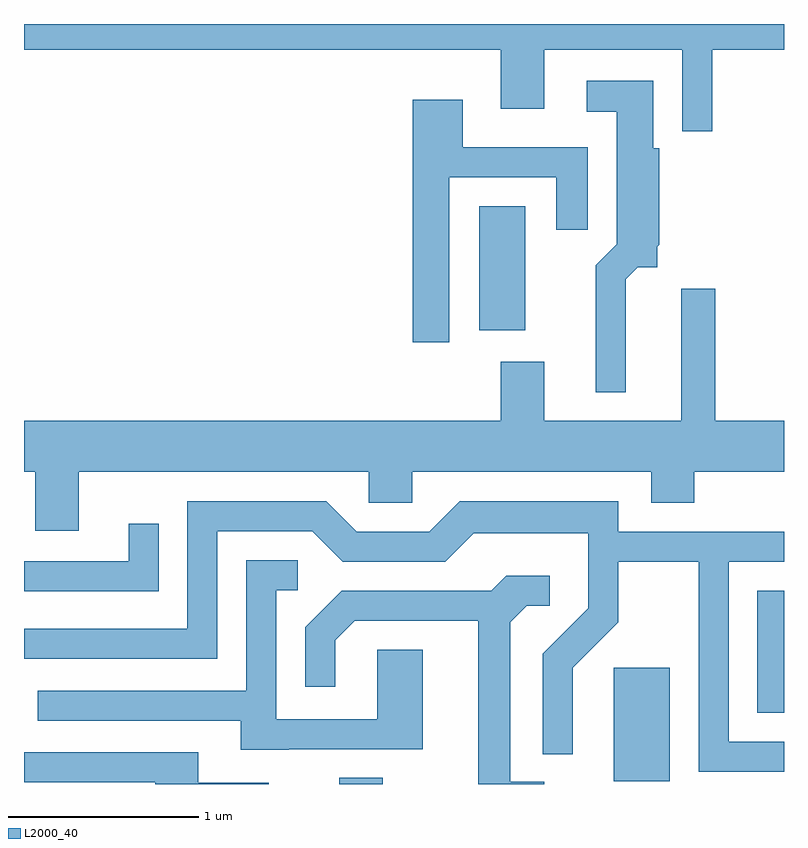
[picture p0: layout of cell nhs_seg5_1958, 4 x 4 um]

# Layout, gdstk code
import gdstk
lib = gdstk.Library(unit=1e-6, precision=1e-09)
def R(c, l, rs):  # rectangles x0, y0, x1, y1
    for r in rs: c.add(gdstk.rectangle(r[:2], r[2:], *l))
def P(c, l, *ps):  # polygons
    for p in ps: c.add(gdstk.Polygon(p, *l))
L2000_40 = (2000, 40)

nhs_seg5_1958 = lib.new_cell('nhs_seg5_1958')
R(nhs_seg5_1958, L2000_40, [(245.271,1424.072,245.499,1424.104), (246.716,1424.086,247.009,1424.684), (247.471,1424.446,247.611,1425.089), (246.006,1426.461,246.249,1427.114)])
P(nhs_seg5_1958, L2000_40, [(243.611,1427.936),(246.121,1427.936),(246.121,1427.626),(246.349,1427.626),(246.349,1427.936),(247.076,1427.936),(247.076,1427.508),(247.234,1427.508),(247.234,1427.936),(247.611,1427.936),(247.611,1428.072),(243.611,1428.072)],
  [(246.779,1426.729),(246.842,1426.791),(246.944,1426.791),(246.944,1426.899),(246.954,1426.909),(246.954,1427.419),(246.924,1427.419),(246.924,1427.774),(246.573,1427.774),(246.573,1427.611),(246.731,1427.611),(246.731,1426.912),(246.621,1426.802),(246.621,1426.133),(246.779,1426.133)],
  [(245.849,1427.266),(246.411,1427.266),(246.411,1426.988),(246.579,1426.988),(246.579,1427.424),(245.919,1427.424),(245.919,1427.674),(245.656,1427.674),(245.656,1426.396),(245.849,1426.396)],
  [(243.899,1425.716),(245.426,1425.716),(245.426,1425.551),(245.654,1425.551),(245.654,1425.716),(246.911,1425.716),(246.911,1425.551),(247.139,1425.551),(247.139,1425.716),(247.611,1425.716),(247.611,1425.984),(247.249,1425.984),(247.249,1426.679),(247.071,1426.679),(247.071,1425.984),(246.349,1425.984),(246.349,1426.294),(246.121,1426.294),(246.121,1425.984),(243.611,1425.984),(243.611,1425.716),(243.671,1425.716),(243.671,1425.406),(243.899,1425.406)],
  [(247.611,1424.294),(247.319,1424.294),(247.319,1425.241),(247.611,1425.241),(247.611,1425.399),(246.739,1425.399),(246.739,1425.559),(245.904,1425.559),(245.744,1425.399),(245.362,1425.399),(245.202,1425.559),(244.471,1425.559),(244.471,1424.889),(243.611,1424.889),(243.611,1424.731),(244.629,1424.731),(244.629,1425.401),(245.129,1425.401),(245.289,1425.241),(245.827,1425.241),(245.977,1425.391),(246.581,1425.391),(246.581,1424.997),(246.341,1424.757),(246.341,1424.228),(246.499,1424.228),(246.499,1424.684),(246.739,1424.924),(246.739,1425.241),(247.161,1425.241),(247.161,1424.136),(247.611,1424.136)],
  [(244.319,1425.443),(244.161,1425.443),(244.161,1425.244),(243.611,1425.244),(243.611,1425.086),(244.319,1425.086)],
  [(245.005,1424.256),(245.709,1424.256),(245.709,1424.779),(245.471,1424.779),(245.471,1424.414),(244.939,1424.414),(244.939,1425.091),(245.053,1425.091),(245.053,1425.249),(244.781,1425.249),(244.781,1424.564),(243.683,1424.564),(243.683,1424.406),(244.751,1424.406),(244.751,1424.251),(245.005,1424.251)],
  [(246.348,1424.084),(246.169,1424.084),(246.169,1424.924),(246.257,1425.011),(246.378,1425.011),(246.378,1425.169),(246.149,1425.169),(246.069,1425.089),(245.284,1425.089),(245.091,1424.897),(245.091,1424.583),(245.249,1424.583),(245.249,1424.829),(245.352,1424.931),(246.001,1424.931),(246.001,1424.072),(246.348,1424.072)],
  [(244.898,1424.079),(244.529,1424.079),(244.529,1424.239),(243.611,1424.239),(243.611,1424.081),(244.301,1424.081),(244.301,1424.072),(244.898,1424.072)])

lib.write_gds('nhs_seg5_1958.gds')
